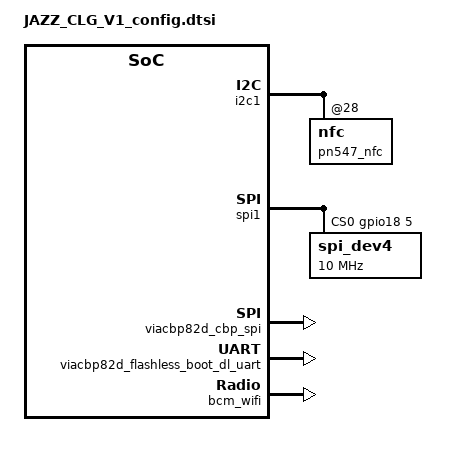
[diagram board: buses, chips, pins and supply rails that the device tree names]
/*
 * Hisilicon Ltd.
 *
 * A15x4 A7x4
 *
 * It is only a demo for hisilicon hi3630 board. You show change the
 * address of each node according to datasheet.
 */


/include/ "hisi_sim_hotplug.dtsi"
/include/ "JAZZ_ULG_V1_config.dtsi"
/include/ "huawei_ext_modem.dtsi"

/ {
	hisi,boardid = <9 6 0 7>;
	hisi,boardname = "JAZZ_CLG_V1";
	board_info: board_info {
		hisi,modem_id = <0x3fbe4000>;
		hw,public;
	};
	amba {
		hisi_serial5: uart@fdf05000 {
			status = "disabled";
		};

		i2c1: i2c@FDF0A000 {
			pn547_nfc:nfc@28 {
					  nfc_nxp_name = "Jazz_CLG_V1_libnfc-nxp.conf";
					  nfc_card_num = <0x2>;
					  hw,public="nfc_nxp_name","nfc_card_num";
			};
		};
		spi1: spi@fdf08000 {
		status = "ok";
		pinctrl-names = "default", "idle";
		pinctrl-0 = <&gpio146_pmx_func &gpio147_pmx_func &gpio148_pmx_func &gpio149_pmx_func
				 &gpio146_cfg_func &gpio147_cfg_func &gpio148_cfg_func &gpio149_cfg_func>;
		pinctrl-1 = <&gpio146_pmx_idle &gpio147_pmx_idle &gpio148_pmx_idle &gpio149_pmx_idle
				 &gpio146_cfg_idle &gpio147_cfg_idle &gpio148_cfg_idle &gpio149_cfg_idle>;
		#address-cells = <1>;
		#size-cells = <0>;
		cs-gpios = <&gpio18 5 0>;
		spi_dev4: spi_dev4@4 {
			compatible = "spi_dev4";
			spi-max-frequency = <10000000>;
			reg = <0>;
			pl022,com-mode = <2>; //2
			pl022,interface = <0>;
			pl022,rx-level-trig = <3>;
			pl022,tx-level-trig = <3>;
			pl022,ctrl-len = <7>;
			pl022,wait-state = <0>;
			pl022,duplex = <0>;
			pl022,slave-tx-disable = <0>;
			};
		};
	};
	viacbp82d_power:viacbp82d_power {
		status = "ok";
	};
	viacbp82d_cbp_spi:viacbp82d_cbp_spi {
		status = "ok";
	};
	viacbp82d_flashless_boot_dl_uart:viacbp82d_flashless_boot_dl_uart {
		status = "ok";
	};
	bcm_wifi {
		wifi_nvram_name = "/vendor/firmware/nvram4334_hw_jazz_clg.txt";
		wifi_fw_name = "/vendor/firmware/fw_bcm4334_hw_dualband.bin";
		wifi_fw_ap_name = "/vendor/firmware/fw_bcm4334_apsta_hw_dualband.bin";
		wifi_fw_test_name = "/vendor/firmware/fw_bcm4334_test_hw_apsta_dualband.bin";
		udp_board;
		ic_type= "bcm4334";
		status = "ok";
	};
	sim0 {
		status = "ok";
		set_gpio="disabled";
	};
	sim1 {
		status = "ok";
		set_gpio="disabled";
	};
	audio_hal_config {
		aud_para = "JAZZ_CLG";
		soc_modem = "VIA_FIRST";
	};

	rnic_adapter:rnic_adapter {
		status = "ok";
	};

};
